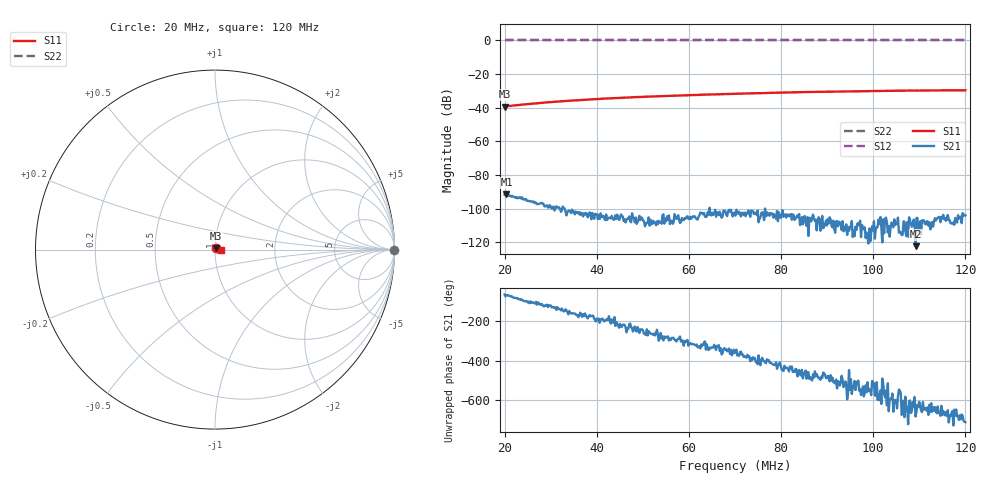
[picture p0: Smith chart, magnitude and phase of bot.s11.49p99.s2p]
! Anritsu VNA Master:  Model: MS2036C/10/77
! SN:  1601066
! /card0/usr/bot.s11.49p99.s2p
! Existing Calibration Information:
! TYPE:  Current Settings,  Active Cal Settings
! TIME:  05/23/2018 11:47:05 AM,  05/23/2018 11:36:58 AM
! INTERNAL TEMP:  48.5 C,  48.8 C
! # POINTS:  500,  500
! START FREQ:  20.000 MHz,  20.000 MHz
! STOP FREQ:  120.000 MHz,  120.000 MHz
! SOURCE POWER:  High,  High
! IFBW:  50 Hz,  50 Hz
! AVG FACTOR:  1 ,  1
! REF PLANE 1:  0 mm,  0 mm
! REF PLANE 2:  0 mm,  0 mm
! CAL TYPE:  Full S11,  Full S11
! CAL METHOD:  SOLT,  SOLT
! CAL LINE TYPE:  Coax,  Coax
! DUT PORT 1:  K-Conn(M),  K-Conn(M)
! DUT PORT 2:  K-Conn(M),  K-Conn(M)
! CAL STATUS:  OK: Accuracy High,  --
# GHZ S DB R 50.0
! FREQ.GHZ  S11DB  S11A  S21DB  S21A  S12DB  S12A  S22DB  S22A
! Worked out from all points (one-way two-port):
!   500 points, 20 MHz to 120 MHz, reference 50 ohm
!   highest |S21| = -91.54 dB at 20.4 MHz (marker M1); lowest = -122.3 dB at 109.2 MHz (marker M2)
!   lowest |S11| = -39.3 dB at 20 MHz (marker M3), VSWR 1.02, Z = 50.7 + j0.851 ohm
!   |S11| at or under -10 dB: start of sweep to end of sweep
!   |S22| runs from 0.0 to 0.0 dB; largest |S21 - S12| = 1
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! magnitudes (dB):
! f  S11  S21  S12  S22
! 20 MHz  -39.3  -91.7  0.0  0.0
! 20.4 MHz  -39.1  -91.5  0.0  0.0
! 20.8 MHz  -39.0  -91.8  0.0  0.0
! 25.41 MHz  -37.7  -95.7  0.0  0.0
! 26.61 MHz  -37.5  -96.7  0.0  0.0
! 29.02 MHz  -36.8  -98.3  0.0  0.0
! 32.42 MHz  -36.2  -101.0  0.0  0.0
! 36.83 MHz  -35.4  -102.8  0.0  0.0
! 40.04 MHz  -34.8  -103.4  0.0  0.0
! 43.85 MHz  -34.3  -106.4  0.0  0.0
! 46.85 MHz  -33.9  -105.9  0.0  0.0
! 47.86 MHz  -33.8  -105.2  0.0  0.0
! 53.47 MHz  -33.2  -107.3  0.0  0.0
! 56.27 MHz  -32.9  -107.2  0.0  0.0
! 62.89 MHz  -32.3  -102.6  0.0  0.0
! 70.1 MHz  -31.7  -104.2  0.0  0.0
! 81.52 MHz  -30.9  -103.7  0.0  0.0
! 86.73 MHz  -30.6  -105.4  0.0  0.0
! 100.2 MHz  -30.0  -107.5  0.0  0.0
! 103.4 MHz  -29.9  -110.3  0.0  0.0
! 109.2 MHz  -29.8  -122.3  0.0  0.0
! 120 MHz  -29.6  -104.0  0.0  0.0
